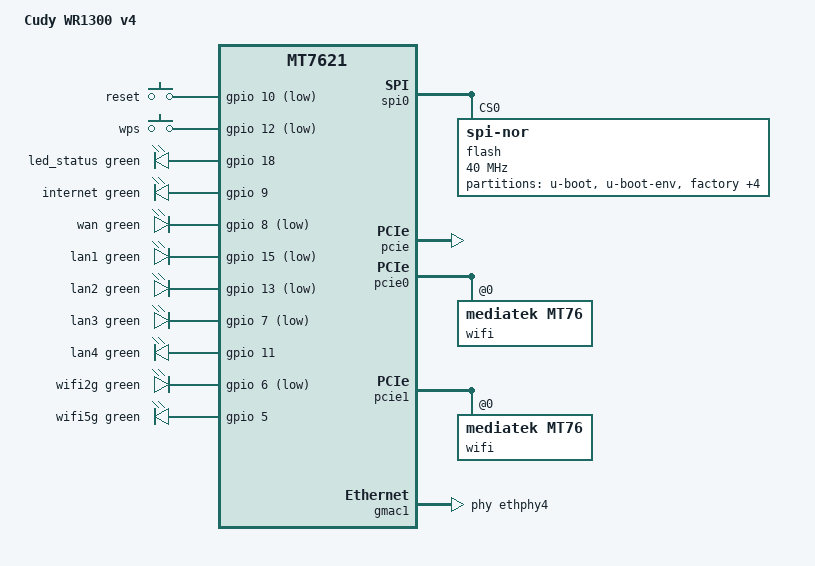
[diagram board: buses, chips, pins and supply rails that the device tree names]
// SPDX-License-Identifier: GPL-2.0-or-later OR MIT

#include "mt7621.dtsi"

#include <dt-bindings/input/input.h>
#include <dt-bindings/leds/common.h>
#include <dt-bindings/gpio/gpio.h>

/ {
	compatible = "cudy,wr1300-v4", "mediatek,mt7621-soc";
	model = "Cudy WR1300 v4";

	aliases {
		led-boot = &led_status;
		led-failsafe = &led_status;
		led-running = &led_status;
		led-upgrade = &led_status;
		label-mac-device = &gmac0;
	};

	chosen {
		bootargs = "console=ttyS0,115200";
	};

	keys {
		compatible = "gpio-keys";

		reset {
			label = "reset";
			gpios = <&gpio 10 GPIO_ACTIVE_LOW>;
			linux,code = <KEY_RESTART>;
		};

		wps {
			label = "wps";
			gpios = <&gpio 12 GPIO_ACTIVE_LOW>;
			linux,code = <KEY_WPS_BUTTON>;
		};
	};

	leds {
		compatible = "gpio-leds";

		led_status: status {
			function = LED_FUNCTION_STATUS;
			color = <LED_COLOR_ID_GREEN>;
			gpios = <&gpio 18 GPIO_ACTIVE_HIGH>;
		};

		internet {
			function = LED_FUNCTION_WAN_ONLINE;
			color = <LED_COLOR_ID_GREEN>;
			gpios = <&gpio 9 GPIO_ACTIVE_HIGH>;
		};

		wan {
			function = LED_FUNCTION_WAN;
			color = <LED_COLOR_ID_GREEN>;
			gpios = <&gpio 8 GPIO_ACTIVE_LOW>;
		};

		lan1 {
			function = LED_FUNCTION_LAN;
			function-enumerator = <1>;
			color = <LED_COLOR_ID_GREEN>;
			gpios = <&gpio 15 GPIO_ACTIVE_LOW>;
		};

		lan2 {
			function = LED_FUNCTION_LAN;
			function-enumerator = <2>;
			color = <LED_COLOR_ID_GREEN>;
			gpios = <&gpio 13 GPIO_ACTIVE_LOW>;
		};

		lan3 {
			function = LED_FUNCTION_LAN;
			function-enumerator = <3>;
			color = <LED_COLOR_ID_GREEN>;
			gpios = <&gpio 7 GPIO_ACTIVE_LOW>;
		};

		lan4 {
			function = LED_FUNCTION_LAN;
			function-enumerator = <4>;
			color = <LED_COLOR_ID_GREEN>;
			gpios = <&gpio 11 GPIO_ACTIVE_HIGH>;
		};

		wifi2g {
			function = LED_FUNCTION_WLAN_2GHZ;
			color = <LED_COLOR_ID_GREEN>;
			gpios = <&gpio 6 GPIO_ACTIVE_LOW>;
			linux,default-trigger = "phy0tpt";
		};

		wifi5g {
			function = LED_FUNCTION_WLAN_5GHZ;
			color = <LED_COLOR_ID_GREEN>;
			gpios = <&gpio 5 GPIO_ACTIVE_HIGH>;
			linux,default-trigger = "phy1tpt";
		};
	};
};

&spi0 {
	status = "okay";

	flash@0 {
		compatible = "jedec,spi-nor";
		reg = <0>;
		spi-max-frequency = <40000000>;

		partitions {
			compatible = "fixed-partitions";
			#address-cells = <1>;
			#size-cells = <1>;

			partition@0 {
				label = "u-boot";
				reg = <0x0 0x30000>;
				read-only;
			};

			partition@30000 {
				label = "u-boot-env";
				reg = <0x30000 0x10000>;
				read-only;
			};

			partition@40000 {
				label = "factory";
				reg = <0x40000 0x10000>;
				read-only;

				nvmem-layout {
					compatible = "fixed-layout";
					#address-cells = <1>;
					#size-cells = <1>;

					eeprom_factory_0: eeprom@0 {
						reg = <0x0 0x400>;
					};

					eeprom_factory_8000: eeprom@8000 {
						reg = <0x8000 0x4da8>;
					};
				};
			};

			partition@50000 {
				compatible = "denx,uimage";
				label = "firmware";
				reg = <0x50000 0xf80000>;
			};

			partition@fd0000 {
				label = "debug";
				reg = <0xfd0000 0x10000>;
				read-only;
			};

			partition@fe0000 {
				label = "backup";
				reg = <0xfe0000 0x10000>;
				read-only;
			};

			partition@ff0000 {
				label = "bdinfo";
				reg = <0xff0000 0x10000>;
				read-only;

				nvmem-layout {
					compatible = "fixed-layout";
					#address-cells = <1>;
					#size-cells = <1>;

					macaddr_bdinfo_de00: macaddr@de00 {
						compatible = "mac-base";
						reg = <0xde00 0x6>;
						#nvmem-cell-cells = <1>;
					};
				};
			};
		};
	};
};

&pcie {
	status = "okay";
};

&pcie0 {
	wifi@0,0 {
		compatible = "mediatek,mt76";
		reg = <0x0000 0 0 0 0>;
		nvmem-cells = <&eeprom_factory_0>, <&macaddr_bdinfo_de00 0>;
		nvmem-cell-names = "eeprom", "mac-address";
		ieee80211-freq-limit = <2400000 2500000>;
	};
};

&pcie1 {
	wifi@0,0 {
		compatible = "mediatek,mt76";
		reg = <0x0000 0 0 0 0>;
		nvmem-cells = <&eeprom_factory_8000>, <&macaddr_bdinfo_de00 2>;
		nvmem-cell-names = "eeprom", "mac-address";
		ieee80211-freq-limit = <5000000 6000000>;
	};
};

&gmac0 {
	nvmem-cells = <&macaddr_bdinfo_de00 0>;
	nvmem-cell-names = "mac-address";
};

&gmac1 {
	status = "okay";
	label = "wan";
	phy-handle = <&ethphy4>;

	nvmem-cells = <&macaddr_bdinfo_de00 1>;
	nvmem-cell-names = "mac-address";
};

&ethphy4 {
	/delete-property/ interrupts;
};

&switch0 {
	ports {
		port@0 {
			status = "okay";
			label = "lan4";
		};

		port@1 {
			status = "okay";
			label = "lan3";
		};

		port@2 {
			status = "okay";
			label = "lan2";
		};

		port@3 {
			status = "okay";
			label = "lan1";
		};
	};
};

&state_default {
	gpio {
		groups = "wdt", "i2c", "jtag";
		function = "gpio";
	};
};
